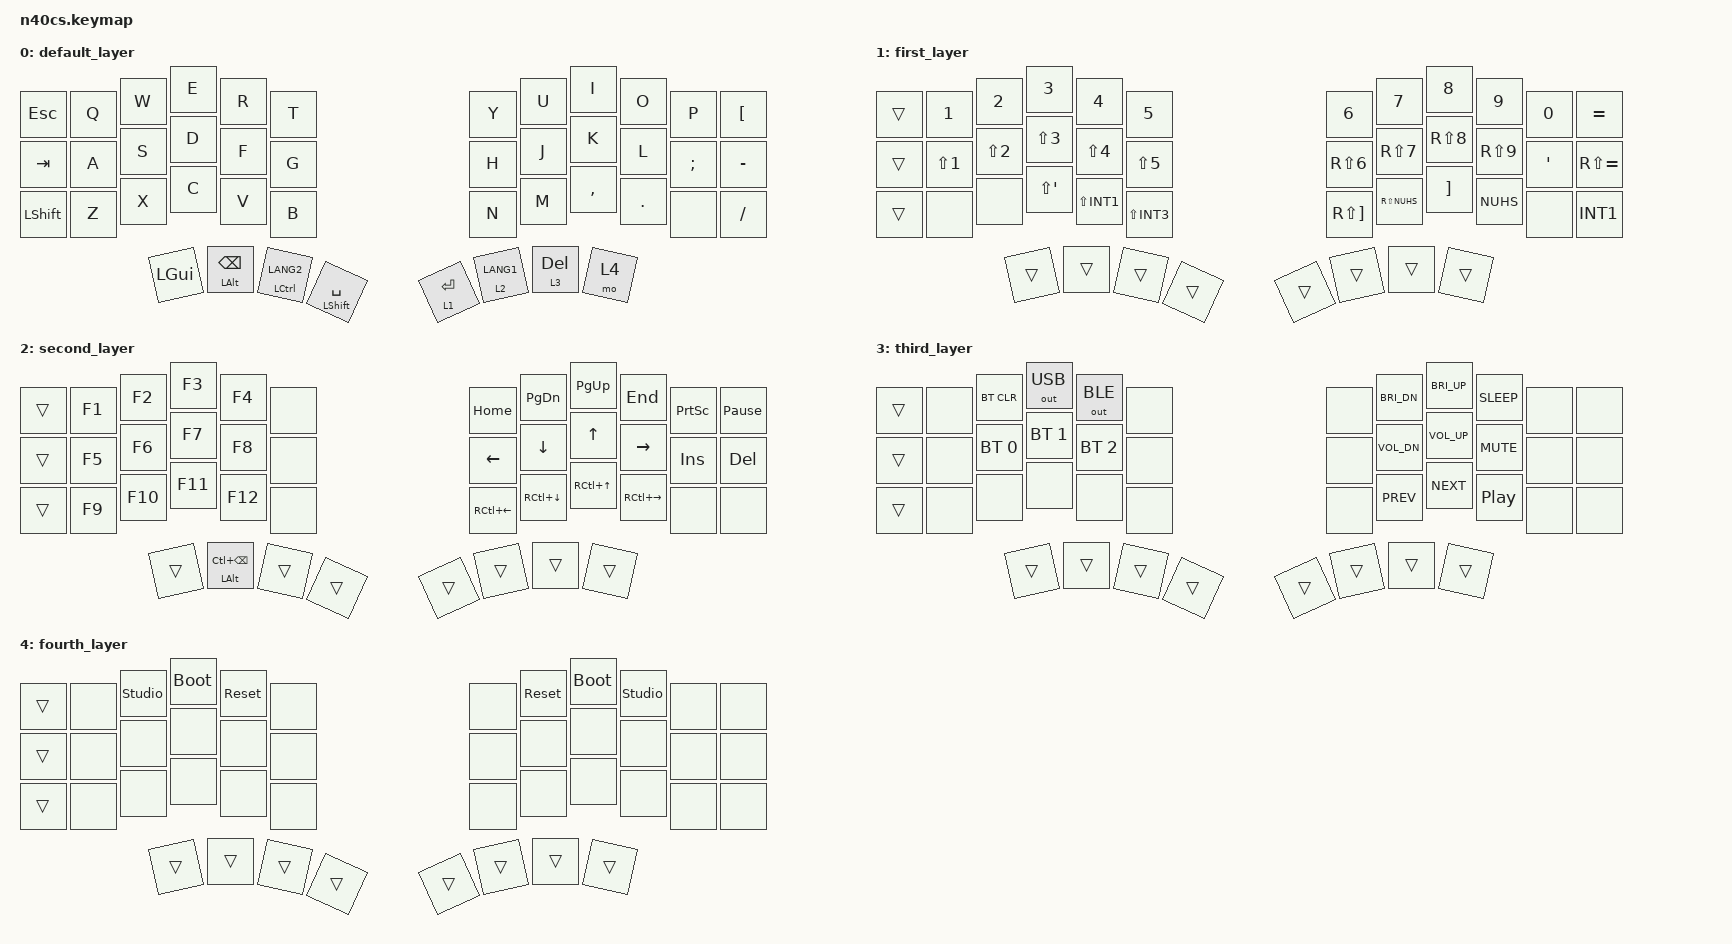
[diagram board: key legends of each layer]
#include <behaviors.dtsi>
#include <dt-bindings/zmk/bt.h>
#include <dt-bindings/zmk/keys.h>
#include <dt-bindings/zmk/outputs.h>

/ {
    keymap {
        compatible = "zmk,keymap";

        default_layer {
            bindings = <
                &kp ESC            &kp Q              &kp W              &kp E              &kp R              &kp T              &kp Y              &kp U              &kp I              &kp O              &kp P              &kp LBKT
                &kp TAB            &kp A              &kp S              &kp D              &kp F              &kp G              &kp H              &kp J              &kp K              &kp L              &kp SEMI           &kp MINUS
                &kp LSHFT          &kp Z              &kp X              &kp C              &kp V              &kp B              &kp N              &kp M              &kp COMMA          &kp DOT            &none              &kp SLASH
                                                      &kp LGUI           &mt LALT BSPC      &mt LCTRL LANG2    &mt LSHFT SPACE    &lt 1 ENTER        &lt 2 LANG1        &lt 3 DEL          &mo 4
            >;
        };

        first_layer {
            bindings = <
                &trans             &kp N1             &kp N2             &kp N3             &kp N4             &kp N5             &kp N6             &kp N7             &kp N8             &kp N9             &kp N0             &kp EQUAL
                &trans             &kp LS(N1)         &kp LS(N2)         &kp LS(N3)         &kp LS(N4)         &kp LS(N5)         &kp RS(N6)         &kp RS(N7)         &kp RS(N8)         &kp RS(N9)         &kp SQT            &kp RS(EQUAL)
                &trans             &none              &none              &kp LS(SQT)        &kp LS(INT1)       &kp LS(INT3)       &kp RS(RBKT)       &kp RS(NUHS)       &kp RBKT           &kp NUHS           &none              &kp INT1
                                                      &trans             &trans             &trans             &trans             &trans             &trans             &trans             &trans
            >;
        };

        second_layer {
            bindings = <
                &trans             &kp F1             &kp F2             &kp F3             &kp F4             &none              &kp HOME           &kp PG_DN          &kp PG_UP          &kp END            &kp PSCRN          &kp PAUSE_BREAK
                &trans             &kp F5             &kp F6             &kp F7             &kp F8             &none              &kp LEFT           &kp DOWN           &kp UP             &kp RIGHT          &kp INS            &kp DEL
                &trans             &kp F9             &kp F10            &kp F11            &kp F12            &none              &kp RC(LEFT)       &kp RC(DOWN)       &kp RC(UP)         &kp RC(RIGHT)      &none              &none
                                                      &trans             &mt LALT LC(BSPC)  &trans             &trans             &trans             &trans             &trans             &trans
            >;
        };

        third_layer {
            bindings = <
                &trans             &none              &bt BT_CLR         &out OUT_USB       &out OUT_BLE       &none              &none              &kp C_BRI_DN       &kp C_BRI_UP       &kp C_SLEEP        &none              &none
                &trans             &none              &bt BT_SEL 0       &bt BT_SEL 1       &bt BT_SEL 2       &none              &none              &kp C_VOL_DN       &kp C_VOL_UP       &kp C_MUTE         &none              &none
                &trans             &none              &none              &none              &none              &none              &none              &kp C_PREV         &kp C_NEXT         &kp C_PLAY_PAUSE   &none              &none
                                                      &trans             &trans             &trans             &trans             &trans             &trans             &trans             &trans
            >;
        };

        fourth_layer {
            bindings = <
                &trans             &none              &studio_unlock     &bootloader        &sys_reset         &none              &none              &sys_reset         &bootloader        &studio_unlock     &none              &none
                &trans             &none              &none              &none              &none              &none              &none              &none              &none              &none              &none              &none
                &trans             &none              &none              &none              &none              &none              &none              &none              &none              &none              &none              &none
                                                      &trans             &trans             &trans             &trans             &trans             &trans             &trans             &trans
            >;
        };
    };
};

&mt {
    flavor = "hold-preferred";
};

&lt {
    flavor = "hold-preferred";
};
